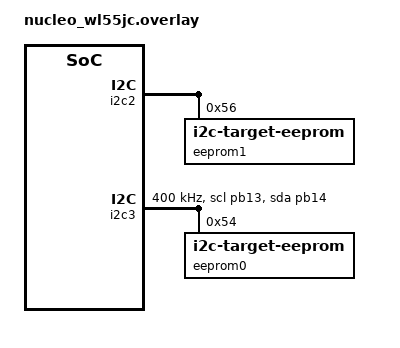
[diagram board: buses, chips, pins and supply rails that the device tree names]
/* SPDX-License-Identifier: Apache-2.0 */

/* I2C bus pins are exposed on the ST morpho header.
 *
 *  Bus        SDA               SCL
 *          Pin   Hdr         Pin   Hdr
 *  i2c2    PA11  CN10:5      PA12  CN10:3
 *  i2c3    PB14  CN7:36      PB13  CN7:38
 *
 * Short Pin PA11 to PB14, and PA12 to PB13, for the test to pass.
 */

#define IC2_TEST_0_DMA_TX <&dmamux1 0 14 (STM32_DMA_PERIPH_TX | STM32_DMA_PRIORITY_HIGH)>
#define IC2_TEST_0_DMA_RX <&dmamux1 1 13 (STM32_DMA_PERIPH_RX | STM32_DMA_PRIORITY_HIGH)>

i2c_test_0: &i2c2 {
	dmas = IC2_TEST_0_DMA_TX, IC2_TEST_0_DMA_RX;
	dma-names = "tx", "rx";

	eeprom1: eeprom@56 {
		compatible = "zephyr,i2c-target-eeprom";
		reg = <0x56>;
		size = <256>;
	};
};

#define IC2_TEST_1_DMA_TX <&dmamux1 2 16 (STM32_DMA_PERIPH_TX | STM32_DMA_PRIORITY_HIGH)>
#define IC2_TEST_1_DMA_RX <&dmamux1 3 15 (STM32_DMA_PERIPH_RX | STM32_DMA_PRIORITY_HIGH)>

i2c_test_1: &i2c3 {
	pinctrl-0 = <&i2c3_scl_pb13 &i2c3_sda_pb14>;
	pinctrl-names = "default";
	scl-gpios = <&gpiob 13 GPIO_ACTIVE_HIGH>;
	sda-gpios = <&gpiob 14 GPIO_ACTIVE_HIGH>;
	dmas = IC2_TEST_1_DMA_TX, IC2_TEST_1_DMA_RX;
	dma-names = "tx", "rx";
	status = "okay";
	clock-frequency = <I2C_BITRATE_FAST>;

	eeprom0: eeprom@54 {
		compatible = "zephyr,i2c-target-eeprom";
		reg = <0x54>;
		size = <256>;
	};
};

&dma1 {
	status = "okay";
};

&dma2 {
	status = "okay";
};

&dmamux1 {
	status = "okay";
};
